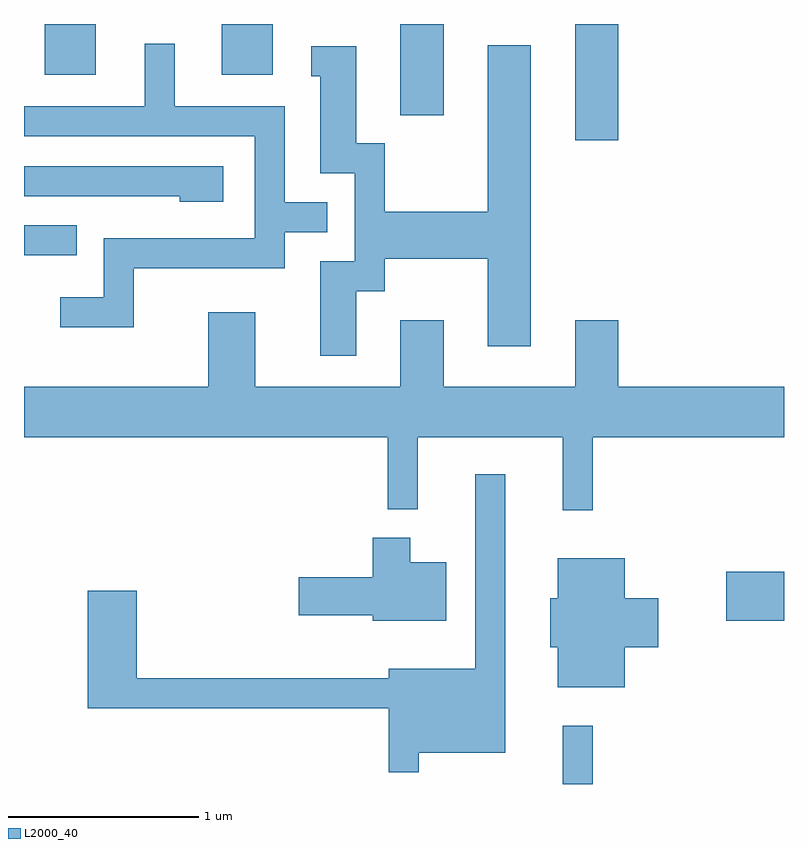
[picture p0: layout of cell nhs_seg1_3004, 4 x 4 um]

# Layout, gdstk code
import gdstk
lib = gdstk.Library(unit=1e-6, precision=1e-09)
def R(c, l, rs):  # rectangles x0, y0, x1, y1
    for r in rs: c.add(gdstk.rectangle(r[:2], r[2:], *l))
def P(c, l, *ps):  # polygons
    for p in ps: c.add(gdstk.Polygon(p, *l))
L2000_40 = (2000, 40)

nhs_seg1_3004 = lib.new_cell('nhs_seg1_3004')
R(nhs_seg1_3004, L2000_40, [(278.446,937.712,278.604,938.018), (279.306,938.571,279.611,938.829), (275.611,940.496,275.888,940.654), (278.511,941.101,278.739,941.712), (277.591,941.231,277.819,941.712), (275.721,941.446,275.989,941.712), (276.651,941.446,276.919,941.712)])
P(nhs_seg1_3004, L2000_40, [(276.189,940.426),(276.984,940.426),(276.984,940.616),(277.208,940.616),(277.208,940.774),(276.984,940.774),(276.984,941.279),(276.404,941.279),(276.404,941.608),(276.246,941.608),(276.246,941.279),(275.611,941.279),(275.611,941.121),(276.826,941.121),(276.826,940.584),(276.031,940.584),(276.031,940.274),(275.803,940.274),(275.803,940.116),(276.189,940.116)],
  [(277.359,940.306),(277.509,940.306),(277.509,940.476),(278.051,940.476),(278.051,940.016),(278.279,940.016),(278.279,941.599),(278.051,941.599),(278.051,940.724),(277.509,940.724),(277.509,941.084),(277.359,941.084),(277.359,941.594),(277.123,941.594),(277.123,941.436),(277.171,941.436),(277.171,940.926),(277.351,940.926),(277.351,940.464),(277.171,940.464),(277.171,939.966),(277.359,939.966)],
  [(276.659,940.964),(275.611,940.964),(275.611,940.806),(276.431,940.806),(276.431,940.776),(276.659,940.776)],
  [(278.511,940.154),(278.511,939.804),(277.819,939.804),(277.819,940.154),(277.591,940.154),(277.591,939.804),(276.829,939.804),(276.829,940.194),(276.581,940.194),(276.581,939.804),(275.611,939.804),(275.611,939.536),(277.526,939.536),(277.526,939.158),(277.684,939.158),(277.684,939.536),(278.446,939.536),(278.446,939.153),(278.604,939.153),(278.604,939.536),(279.611,939.536),(279.611,939.804),(278.739,939.804),(278.739,940.154)],
  [(277.689,937.876),(278.144,937.876),(278.144,939.343),(277.986,939.343),(277.986,938.319),(277.531,938.319),(277.531,938.269),(276.204,938.269),(276.204,938.729),(275.946,938.729),(275.946,938.111),(277.531,938.111),(277.531,937.773),(277.689,937.773)],
  [(277.834,938.879),(277.644,938.879),(277.644,939.009),(277.446,939.009),(277.446,938.799),(277.056,938.799),(277.056,938.601),(277.446,938.601),(277.446,938.571),(277.834,938.571)],
  [(278.774,938.431),(278.949,938.431),(278.949,938.689),(278.774,938.689),(278.774,938.899),(278.421,938.899),(278.421,938.689),(278.381,938.689),(278.381,938.431),(278.421,938.431),(278.421,938.221),(278.774,938.221)])

lib.write_gds('nhs_seg1_3004.gds')
